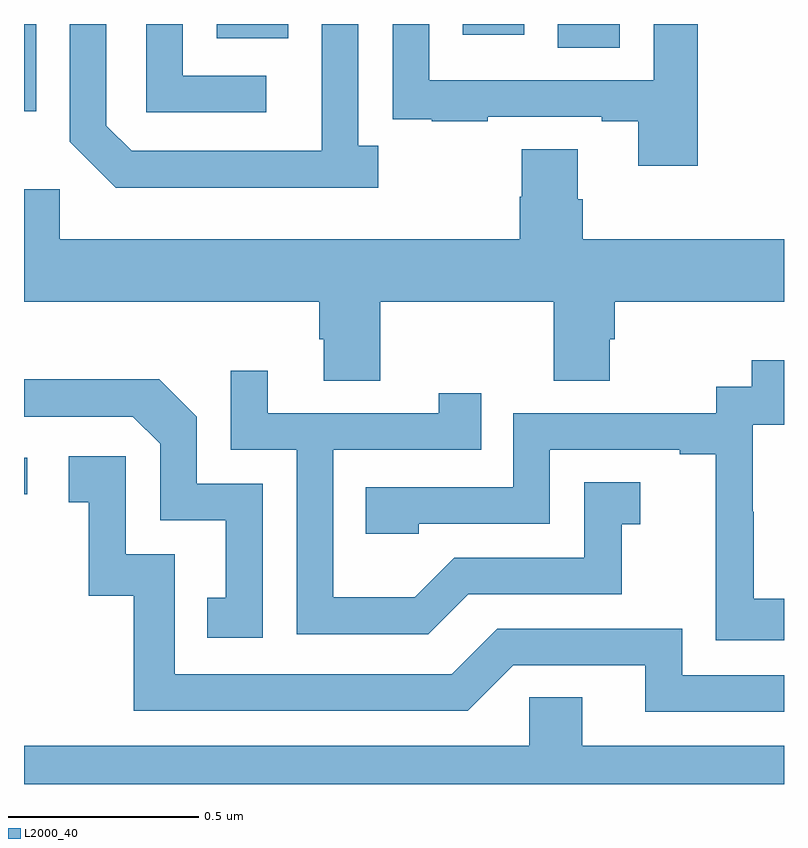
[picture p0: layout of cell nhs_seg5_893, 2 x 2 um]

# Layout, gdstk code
import gdstk
lib = gdstk.Library(unit=1e-6, precision=1e-09)
def R(c, l, rs):  # rectangles x0, y0, x1, y1
    for r in rs: c.add(gdstk.rectangle(r[:2], r[2:], *l))
def P(c, l, *ps):  # polygons
    for p in ps: c.add(gdstk.Polygon(p, *l))
L2000_40 = (2000, 40)

nhs_seg5_893 = lib.new_cell('nhs_seg5_893')
R(nhs_seg5_893, L2000_40, [(122,881.562,122.008,881.658), (122,882.569,122.032,882.799), (123.404,882.736,123.568,882.799), (122.507,882.761,122.695,882.799), (123.155,882.771,123.316,882.799)])
P(nhs_seg5_893, L2000_40, [(122.932,882.478),(122.88,882.478),(122.88,882.799),(122.784,882.799),(122.784,882.665),(122.783,882.665),(122.783,882.465),(122.283,882.465),(122.217,882.531),(122.217,882.799),(122.121,882.799),(122.121,882.489),(122.242,882.368),(122.932,882.368)],
  [(122.638,882.663),(122.418,882.663),(122.418,882.799),(122.322,882.799),(122.322,882.567),(122.638,882.567)],
  [(123.773,882.799),(123.657,882.799),(123.657,882.651),(123.066,882.651),(123.066,882.799),(122.97,882.799),(122.97,882.658),(122.971,882.658),(122.971,882.549),(123.073,882.549),(123.073,882.543),(123.221,882.543),(123.221,882.555),(123.521,882.555),(123.521,882.543),(123.617,882.543),(123.617,882.426),(123.773,882.426)],
  [(122.937,882.068),(123.394,882.068),(123.394,881.86),(123.541,881.86),(123.541,881.97),(123.554,881.97),(123.554,882.068),(124,882.068),(124,882.232),(123.47,882.232),(123.47,882.338),(123.457,882.338),(123.457,882.47),(123.31,882.47),(123.31,882.345),(123.305,882.345),(123.305,882.232),(122.094,882.232),(122.094,882.364),(122,882.364),(122,882.068),(122.777,882.068),(122.777,881.97),(122.789,881.97),(122.789,881.86),(122.937,881.86)],
  [(124,881.287),(123.92,881.287),(123.92,881.516),(123.918,881.516),(123.918,881.745),(124,881.745),(124,881.914),(123.915,881.914),(123.915,881.844),(123.822,881.844),(123.822,881.775),(123.288,881.775),(123.288,881.58),(122.899,881.58),(122.899,881.457),(123.039,881.457),(123.039,881.484),(123.384,881.484),(123.384,881.679),(123.725,881.679),(123.725,881.667),(123.821,881.667),(123.821,881.383),(123.82,881.383),(123.82,881.177),(124,881.177)],
  [(123.169,881.298),(123.573,881.298),(123.573,881.483),(123.622,881.483),(123.622,881.593),(123.474,881.593),(123.474,881.394),(123.132,881.394),(123.028,881.29),(122.814,881.29),(122.814,881.679),(123.203,881.679),(123.203,881.827),(123.092,881.827),(123.092,881.775),(122.641,881.775),(122.641,881.887),(122.544,881.887),(122.544,881.679),(122.718,881.679),(122.718,881.193),(123.064,881.193)],
  [(122.628,881.589),(122.454,881.589),(122.454,881.766),(122.356,881.864),(122,881.864),(122,881.766),(122.286,881.766),(122.358,881.694),(122.358,881.493),(122.531,881.493),(122.531,881.289),(122.482,881.289),(122.482,881.184),(122.628,881.184)],
  [(124,881.085),(123.732,881.085),(123.732,881.208),(123.246,881.208),(123.126,881.088),(122.397,881.088),(122.397,881.403),(122.268,881.403),(122.268,881.662),(122.118,881.662),(122.118,881.541),(122.171,881.541),(122.171,881.295),(122.289,881.295),(122.289,880.992),(123.168,880.992),(123.288,881.112),(123.635,881.112),(123.635,880.989),(124,880.989)],
  [(124,880.9),(123.469,880.9),(123.469,881.027),(123.33,881.027),(123.33,880.9),(122,880.9),(122,880.799),(124,880.799)])

lib.write_gds('nhs_seg5_893.gds')
